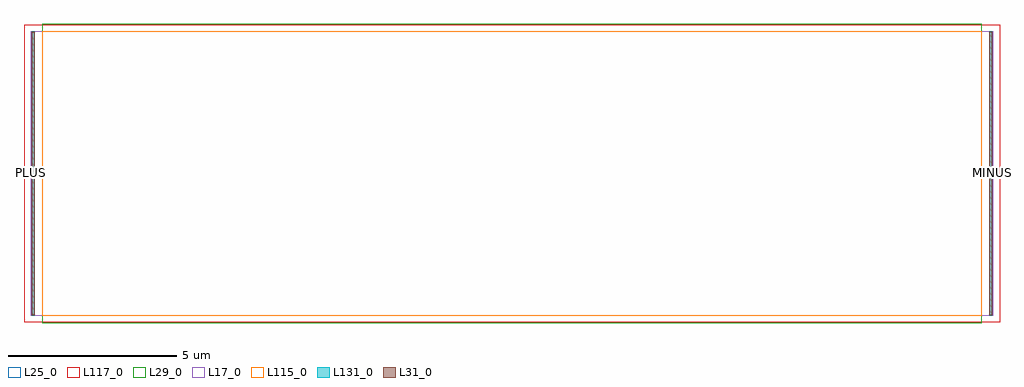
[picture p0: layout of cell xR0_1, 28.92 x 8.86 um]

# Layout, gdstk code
import gdstk
lib = gdstk.Library(unit=1e-6, precision=1e-09)
def R(c, l, rs):  # rectangles x0, y0, x1, y1
    for r in rs: c.add(gdstk.rectangle(r[:2], r[2:], *l))
L17_0 = (17, 0)
L25_0 = (25, 0)
L29_0 = (29, 0)
L31_0 = (31, 0)
L115_0 = (115, 0)
L117_0 = (117, 0)
L131_0 = (131, 0)

xr0_1 = lib.new_cell('xR0_1')
R(xr0_1, L17_0, [(0.2,0.22,28.72,8.64)])
R(xr0_1, L25_0, [(0,0.02,28.92,8.84)])
R(xr0_1, L29_0, [(0.54,0,28.38,8.86)])
R(xr0_1, L31_0, [(0.23,0.235,0.32,8.625), (28.6,0.235,28.69,8.625)])
R(xr0_1, L115_0, [(0.54,0.22,28.38,8.64)])
R(xr0_1, L117_0, [(0,0.02,28.92,8.84)])
R(xr0_1, L131_0, [(0.23,0.22,0.32,8.64), (28.6,0.22,28.69,8.64)])
xr0_1.add(gdstk.Label('PLUS', (0.23,4.445), layer=131, texttype=0))
xr0_1.add(gdstk.Label('MINUS', (28.69,4.445), layer=131, texttype=0))

lib.write_gds('xR0_1.gds')
